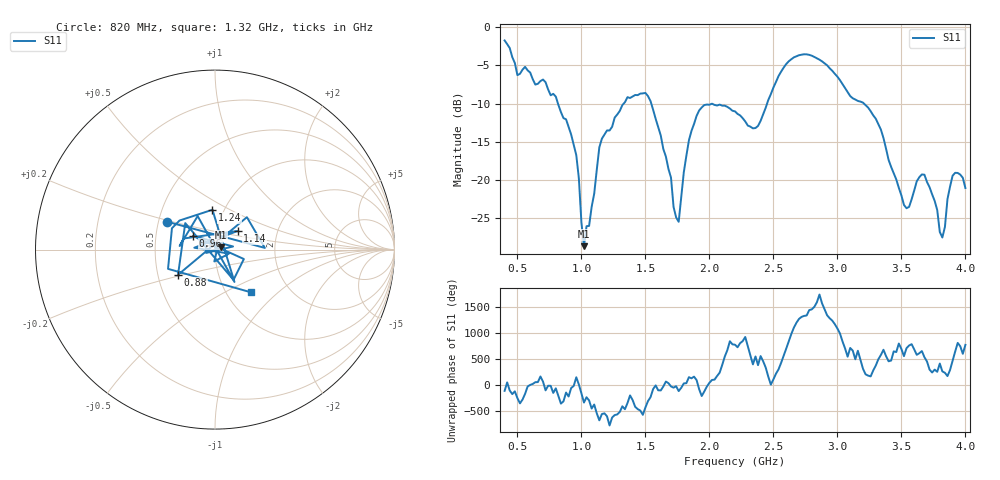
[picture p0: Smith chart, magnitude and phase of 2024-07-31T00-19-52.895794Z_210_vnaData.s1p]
!Created with skrf (http://scikit-rf.org).
# Hz S RI R 50.0
!freq ReS11 ImS11
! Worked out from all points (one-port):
!   181 points, 400 MHz to 4 GHz, reference 50 ohm
!   lowest |S11| = -28.8 dB at 1.02 GHz (marker M1), VSWR 1.08, Z = 53.5 + j1.45 ohm
!   |S11| at or under -10 dB: 816.8 MHz to 1.331 GHz (514.2 MHz wide, 47.9 % of centre); 1.546 GHz to 2.451 GHz (905.2 MHz wide, 45.3 % of centre); 3.207 GHz to end of sweep
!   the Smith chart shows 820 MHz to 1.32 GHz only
!   S11 on the Smith chart (normalised r, x): 820 MHz: 0.55, +0.19; 880 MHz: 0.64, -0.19; 960 MHz: 0.77, +0.12; 1.14 GHz: 1.26, +0.27; 1.24 GHz: 0.88, +0.41; 1.32 GHz: 1.29, -0.68
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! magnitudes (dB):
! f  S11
! 400 MHz  -1.7
! 500 MHz  -6.3
! 700 MHz  -6.9
! 820 MHz  -10.2
! 860 MHz  -11.9
! 880 MHz  -12.1
! 960 MHz  -16.8
! 1.02 GHz  -28.8
! 1.1 GHz  -21.9
! 1.14 GHz  -15.8
! 1.24 GHz  -13.1
! 1.3 GHz  -11.0
! 1.32 GHz  -10.2
! 1.54 GHz  -9.7
! 1.76 GHz  -25.6
! 1.84 GHz  -14.8
! 1.92 GHz  -10.9
! 2.2 GHz  -11.0
! 2.38 GHz  -12.9
! 2.66 GHz  -3.9
! 2.88 GHz  -4.5
! 3.1 GHz  -9.0
! 3.3 GHz  -12.0
! 3.56 GHz  -23.6
! 3.68 GHz  -19.4
! 3.82 GHz  -27.6
! 3.9 GHz  -19.5
! 4 GHz  -21.1
